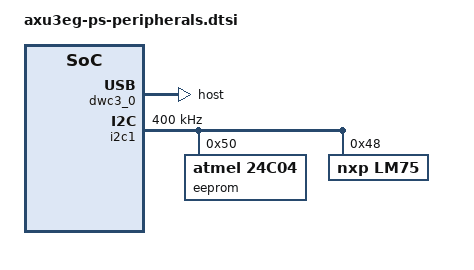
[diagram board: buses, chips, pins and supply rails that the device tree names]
/* PS-only overrides derived from the supplied AXU3EG factory BSP.
 * Include after the new XSA-generated PS/PL tree. Do not import old PL nodes.
 */
&sdhci1 {
    disable-wp;
    no-1-8-v;
};
&dwc3_0 {
    status = "okay";
    dr_mode = "host";
};
&i2c1 {
    clock-frequency = <400000>;
    eeprom@50 {
        compatible = "atmel,24c04";
        reg = <0x50>;
        pagesize = <16>;
    };
    lm75@48 {
        compatible = "nxp,lm75";
        reg = <0x48>;
    };
};
